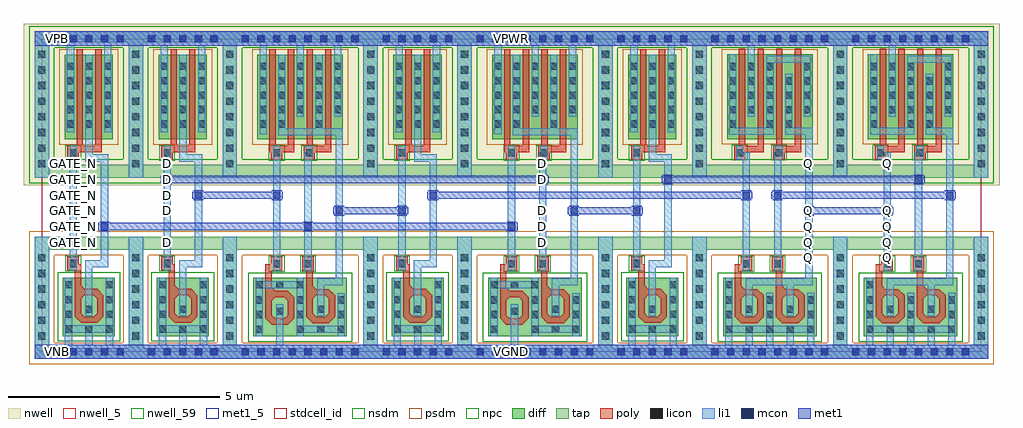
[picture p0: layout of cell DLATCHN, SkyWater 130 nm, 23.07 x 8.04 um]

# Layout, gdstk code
from math import pi, radians
import gdstk
lib = gdstk.Library(unit=1e-6, precision=1e-09)
def R(c, l, rs):  # rectangles x0, y0, x1, y1
    for r in rs: c.add(gdstk.rectangle(r[:2], r[2:], *l))
def A(c, l, x, y, w, h, nx, ny, dx, dy):  # array of equal rectangles
    R(c, l, [(x+i*dx, y+j*dy, x+i*dx+w, y+j*dy+h) for i in range(nx) for j in range(ny)])
def P(c, l, *ps):  # polygons
    for p in ps: c.add(gdstk.Polygon(p, *l))
nwell_5 = (64, 5)
nwell = (64, 20)
nwell_59 = (64, 59)
diff = (65, 20)
tap = (65, 44)
poly = (66, 20)
licon = (66, 44)
li1 = (67, 20)
mcon = (67, 44)
met1_5 = (68, 5)
met1 = (68, 20)
stdcell_id = (81, 4)
nsdm = (93, 44)
psdm = (94, 20)
npc = (95, 20)

diff_ring_side = lib.new_cell('diff_ring_side')
R(diff_ring_side, nwell, [(-0.435,3.93,0.435,7.75)])
R(diff_ring_side, tap, [(-0.17,-0.17,0.17,2.72), (-0.17,4.11,0.17,7.57)])
A(diff_ring_side, licon, -0.085, 0.285, 0.17, 0.17, 1, 6, 0, 0.37)
A(diff_ring_side, licon, -0.085, 4.355, 0.17, 0.17, 1, 8, 0, 0.37)
R(diff_ring_side, li1, [(-0.17,-0.17,0.17,2.72), (-0.17,4.11,0.17,7.57)])
R(diff_ring_side, met1, [(-0.17,-0.17,0.17,0.17), (-0.17,7.23,0.17,7.57)])
R(diff_ring_side, nsdm, [(-0.295,3.985,0.295,7.695)])
R(diff_ring_side, psdm, [(-0.295,-0.295,0.295,2.845)])

nmos_bottom = lib.new_cell('nmos_bottom')
R(nmos_bottom, diff, [(0,0,1.24,1.38)])
R(nmos_bottom, poly, [(0.43,0.27,0.81,0.42), (0.28,0.42,0.43,0.925), (0.81,0.42,0.96,0.925), (0.43,0.925,0.96,1.075), (0.81,1.075,0.96,1.51)])
P(nmos_bottom, poly, [(0.73,1.075),(0.81,1.075),(0.81,1.155)],
  [(0.28,0.925),(0.43,0.925),(0.43,1.075)],
  [(0.43,0.845),(0.43,0.925),(0.51,0.925)],
  [(0.73,0.925),(0.81,0.925),(0.81,0.845)],
  [(0.43,0.5),(0.43,0.42),(0.51,0.42)],
  [(0.73,0.42),(0.81,0.42),(0.81,0.5)],
  [(0.28,0.42),(0.43,0.42),(0.43,0.27)],
  [(0.81,0.27),(0.81,0.42),(0.96,0.42)])
A(nmos_bottom, licon, 0.05, 1.13, 0.17, 0.17, 3, 1, 0.485, 0)
R(nmos_bottom, licon, [(0.05,0.08,0.22,0.25), (1.02,0.08,1.19,0.25), (0.05,0.43,0.22,0.6), (1.02,0.43,1.19,0.6), (0.535,0.505,0.705,0.675), (0.05,0.77,0.22,0.94), (1.02,0.77,1.19,0.94)])
R(nmos_bottom, li1, [(0.05,0,0.22,1.13), (1.02,0,1.19,1.13), (0.535,0.425,0.705,0.755), (0.05,1.13,1.19,1.3), (0.05,1.3,0.22,1.38), (1.02,1.3,1.19,1.38)])
R(nmos_bottom, nsdm, [(-0.125,-0.125,1.365,1.505)])

pmos2 = lib.new_cell('pmos2')
R(pmos2, nwell, [(0.26,-2.18,1.76,0.18)])
R(pmos2, diff, [(0.44,-2,1.58,0)])
R(pmos2, poly, [(0.72,-2.305,1.31,-2.155), (0.72,-2.155,0.87,0.13), (1.16,-2.155,1.31,0.13)])
A(pmos2, licon, 0.49, -1.38, 0.17, 0.17, 3, 4, 0.44, 0.34)
R(pmos2, li1, [(0.49,-1.465,0.66,0.21), (0.93,-1.465,1.1,0), (1.37,-1.465,1.54,0.21)])
R(pmos2, psdm, [(0.315,-2.125,1.705,0.125)])

poly_li1_contact = lib.new_cell('poly_li1_contact')
R(poly_li1_contact, poly, [(-0.16,-0.14,0.17,0.13)])
R(poly_li1_contact, licon, [(-0.08,-0.09,0.09,0.08)])
R(poly_li1_contact, li1, [(-0.16,-0.09,0.17,0.08)])
R(poly_li1_contact, npc, [(-0.18,-0.19,0.19,0.18)])

nmos_top_trim1 = lib.new_cell('nmos_top_trim1')
R(nmos_top_trim1, diff, [(0,0,1.24,1.38)])
R(nmos_top_trim1, poly, [(0.43,0.31,0.81,0.46), (0.28,0.46,0.43,0.965), (0.81,0.46,0.96,0.965), (0.43,0.965,0.96,1.115), (0.81,1.115,0.96,1.545)])
P(nmos_top_trim1, poly, [(0.73,1.115),(0.81,1.115),(0.81,1.195)],
  [(0.28,0.965),(0.43,0.965),(0.43,1.115)],
  [(0.43,0.885),(0.43,0.965),(0.51,0.965)],
  [(0.73,0.965),(0.81,0.965),(0.81,0.885)],
  [(0.43,0.54),(0.43,0.46),(0.51,0.46)],
  [(0.73,0.46),(0.81,0.46),(0.81,0.54)],
  [(0.28,0.46),(0.43,0.46),(0.43,0.31)],
  [(0.81,0.31),(0.81,0.46),(0.96,0.46)])
A(nmos_top_trim1, licon, 0.05, 0.08, 0.17, 0.17, 3, 1, 0.485, 0)
R(nmos_top_trim1, licon, [(0.05,0.43,0.22,0.6), (1.02,0.43,1.19,0.6), (0.535,0.55,0.705,0.72), (0.05,0.77,0.22,0.94), (1.02,0.77,1.19,0.94), (1.02,1.13,1.19,1.3)])
R(nmos_top_trim1, li1, [(0.05,0,0.22,0.08), (1.02,0,1.19,0.08), (0.05,0.08,1.19,0.25), (0.05,0.25,0.22,1.02), (1.02,0.25,1.19,1.38), (0.535,0.47,0.705,0.805)])
R(nmos_top_trim1, nsdm, [(-0.125,-0.125,1.365,1.505)])

nand2x1_pcell = lib.new_cell('nand2x1_pcell')
R(nand2x1_pcell, nwell, [(0.435,3.93,2.895,7.75)])
R(nand2x1_pcell, diff, [(0.705,5.295,0.875,5.465), (1.145,5.295,1.315,5.465), (2.025,5.295,2.195,5.465)])
R(nand2x1_pcell, tap, [(0.17,-0.17,3.16,-0.15), (0.155,-0.15,3.175,0.085), (0.155,2.4,0.17,2.41), (3.16,2.4,3.175,2.41), (0.155,2.41,3.175,2.71), (0.17,2.71,3.16,2.72), (0.17,4.11,3.16,4.42), (0.17,7.315,3.16,7.57)])
R(nand2x1_pcell, poly, [(0.84,1.875,0.99,2.065), (1.81,1.91,1.96,1.915)])
A(nand2x1_pcell, licon, 0.285, -0.085, 0.17, 0.17, 8, 2, 0.37, 7.4)
R(nand2x1_pcell, licon, [(0.705,5.295,0.875,5.465), (1.145,5.295,1.315,5.465), (2.025,5.295,2.195,5.465)])
R(nand2x1_pcell, li1, [(0.17,-0.17,3.16,-0.15), (0.155,-0.15,3.175,0.16), (0.17,0.16,3.16,0.17), (1.095,0.17,1.265,0.835), (2.065,1.165,2.235,1.57), (2.065,1.57,2.675,1.74), (2.505,1.74,2.675,5.115), (1.025,2.165,1.195,4.54), (1.765,2.165,1.785,2.205), (1.765,2.205,1.935,4.54), (1.765,4.54,1.805,4.71), (1.145,5.115,2.675,5.285), (0.705,5.135,0.875,5.555), (1.145,5.285,1.315,5.555), (2.025,5.285,2.195,5.555), (0.17,7.23,3.16,7.57)])
A(nand2x1_pcell, mcon, 0.285, -0.085, 0.17, 0.17, 8, 2, 0.37, 7.4)
R(nand2x1_pcell, met1, [(0.17,-0.17,3.16,-0.15), (0.155,-0.15,3.175,0.16), (0.17,0.16,3.16,0.17), (0.17,7.23,3.16,7.57)])
R(nand2x1_pcell, nsdm, [(0.045,3.985,3.285,4.545), (0.045,7.19,3.285,7.695)])
R(nand2x1_pcell, psdm, [(0.045,-0.295,3.285,-0.275), (0.03,-0.275,3.3,0.21), (0.03,2.275,0.295,2.285), (3.035,2.275,3.3,2.285), (0.03,2.285,3.3,2.835), (0.045,2.835,3.285,2.845), (0.58,5.17,1.44,5.59), (1.9,5.17,2.32,5.59)])
nand2x1_pcell.add(gdstk.Reference(diff_ring_side, (0,0)))
nand2x1_pcell.add(gdstk.Reference(nmos_bottom, (1.8,0.365), rotation=pi, x_reflection=True))
nand2x1_pcell.add(gdstk.Reference(pmos2, (0.215,7.02)))
nand2x1_pcell.add(gdstk.Reference(poly_li1_contact, (1.115,4.705), rotation=3*pi/2))
nand2x1_pcell.add(gdstk.Reference(poly_li1_contact, (1.115,2.085), rotation=3*pi/2))
nand2x1_pcell.add(gdstk.Reference(nmos_top_trim1, (2.77,0.365), rotation=pi, x_reflection=True))
nand2x1_pcell.add(gdstk.Reference(pmos2, (1.095,7.02)))
nand2x1_pcell.add(gdstk.Reference(poly_li1_contact, (1.845,2.075), rotation=pi/2))
nand2x1_pcell.add(gdstk.Reference(poly_li1_contact, (1.885,4.705), rotation=3*pi/2))
nand2x1_pcell.add(gdstk.Reference(diff_ring_side, (3.33,0)))

li1_m1_contact = lib.new_cell('li1_M1_contact')
R(li1_m1_contact, li1, [(-0.085,-0.165,0.085,0.165)])
R(li1_m1_contact, mcon, [(-0.085,-0.085,0.085,0.085)])
R(li1_m1_contact, met1, [(-0.115,-0.115,0.115,-0.085), (-0.265,-0.085,0.145,0.085), (-0.115,0.085,0.115,0.115)])

nmos_top = lib.new_cell('nmos_top')
R(nmos_top, diff, [(0,0,1.23,1.38)])
R(nmos_top, poly, [(0.42,0.31,0.8,0.46), (0.27,0.46,0.42,0.965), (0.8,0.46,0.95,0.965), (0.42,0.965,0.95,1.115), (0.8,1.115,0.95,1.54)])
P(nmos_top, poly, [(0.72,1.115),(0.8,1.115),(0.8,1.195)],
  [(0.27,0.965),(0.42,0.965),(0.42,1.115)],
  [(0.42,0.885),(0.42,0.965),(0.5,0.965)],
  [(0.72,0.965),(0.8,0.965),(0.8,0.885)],
  [(0.42,0.54),(0.42,0.46),(0.5,0.46)],
  [(0.72,0.46),(0.8,0.46),(0.8,0.54)],
  [(0.27,0.46),(0.42,0.46),(0.42,0.31)],
  [(0.8,0.31),(0.8,0.46),(0.95,0.46)])
R(nmos_top, licon, [(0.04,0.08,0.21,0.25), (0.53,0.08,0.7,0.25), (1.01,0.08,1.18,0.25), (0.04,0.43,0.21,0.6), (1.01,0.43,1.18,0.6), (0.53,0.55,0.7,0.72), (0.04,0.77,0.21,0.94), (1.01,0.77,1.18,0.94), (0.04,1.13,0.21,1.3), (1.01,1.13,1.18,1.3)])
R(nmos_top, li1, [(0.04,0,0.21,0.08), (1.01,0,1.18,0.08), (0.04,0.08,1.18,0.25), (0.04,0.25,0.21,1.38), (1.01,0.25,1.18,1.38), (0.53,0.47,0.7,0.805)])
R(nmos_top, nsdm, [(-0.125,-0.125,1.355,1.505)])

invx1_pcell = lib.new_cell('invx1_pcell')
R(invx1_pcell, nwell, [(-0.435,3.93,2.655,7.75)])
A(invx1_pcell, diff, 0.59, 5.295, 0.17, 0.17, 3, 1, 0.44, 0)
R(invx1_pcell, tap, [(0.17,-0.17,2.05,0.085), (0.17,2.41,2.05,2.72), (0.17,4.11,2.05,4.42), (0.17,7.315,2.05,7.57)])
R(invx1_pcell, poly, [(0.775,1.905,0.925,2.065)])
A(invx1_pcell, licon, 0.285, -0.085, 0.17, 0.17, 5, 2, 0.37, 7.4)
A(invx1_pcell, licon, 0.59, 5.295, 0.17, 0.17, 3, 1, 0.44, 0)
R(invx1_pcell, li1, [(0.17,-0.17,2.05,0.17), (0.545,0.17,0.715,0.45), (1.03,0.17,1.2,0.455), (1.515,0.17,1.685,0.45), (1.025,1.165,1.195,1.995), (1.025,1.995,1.565,2.165), (1.395,2.165,1.565,4.495), (0.655,2.245,0.825,4.54), (1.03,4.495,1.565,4.665), (1.03,4.665,1.2,5.555), (0.59,5.185,0.76,5.555), (1.47,5.185,1.64,5.555), (0.17,7.23,2.05,7.57)])
A(invx1_pcell, mcon, 0.285, -0.085, 0.17, 0.17, 5, 2, 0.37, 7.4)
R(invx1_pcell, met1, [(0.17,-0.17,2.05,0.17), (0.17,7.23,2.05,7.57)])
R(invx1_pcell, nsdm, [(0.045,3.985,2.175,4.545), (0.045,7.19,2.175,7.695)])
R(invx1_pcell, psdm, [(0.045,-0.295,2.175,0.21), (0.045,2.285,2.175,2.845), (0.465,5.17,1.765,5.59)])
invx1_pcell.add(gdstk.Reference(poly_li1_contact, (0.735,2.08), rotation=pi/2))
invx1_pcell.add(gdstk.Reference(poly_li1_contact, (0.745,4.705), rotation=3*pi/2))
invx1_pcell.add(gdstk.Reference(pmos2, (0.1,7.02)))
invx1_pcell.add(gdstk.Reference(nmos_top, (1.725,0.37), rotation=pi, x_reflection=True))
invx1_pcell.add(gdstk.Reference(diff_ring_side, (0,0)))
invx1_pcell.add(gdstk.Reference(diff_ring_side, (2.22,0)))

and2x1_pcell = lib.new_cell('and2x1_pcell')
R(and2x1_pcell, met1, [(2.735,3.245,3.805,3.415)])
and2x1_pcell.add(gdstk.Reference(nand2x1_pcell, (0,0)))
and2x1_pcell.add(gdstk.Reference(li1_m1_contact, (4.07,3.33)))
and2x1_pcell.add(gdstk.Reference(li1_m1_contact, (2.59,3.33), rotation=pi))
and2x1_pcell.add(gdstk.Reference(invx1_pcell, (3.33,0)))

pmos2_1 = lib.new_cell('pmos2_1')
R(pmos2_1, nwell, [(0.26,-2.175,1.76,0.185)])
R(pmos2_1, diff, [(0.44,-1.995,1.58,0.005)])
R(pmos2_1, poly, [(0.72,-2.3,1.31,-2.15), (0.72,-2.15,0.87,0.135), (1.16,-2.15,1.31,0.135)])
A(pmos2_1, licon, 0.49, -1.385, 0.17, 0.17, 3, 3, 0.44, 0.34)
A(pmos2_1, li1, 0.49, -1.465, 0.17, 1.01, 3, 1, 0.44, 0)
R(pmos2_1, psdm, [(0.315,-2.12,1.705,0.13)])

nmos_top_trim2 = lib.new_cell('nmos_top_trim2')
R(nmos_top_trim2, diff, [(0,0,1.24,1.38)])
R(nmos_top_trim2, poly, [(0.43,0.31,0.81,0.46), (0.28,0.46,0.43,0.89), (0.81,0.46,0.96,0.89), (0.28,0.89,0.435,0.965), (0.805,0.89,0.96,0.965), (0.43,0.965,0.96,1.115), (0.81,1.115,0.96,1.545)])
P(nmos_top_trim2, poly, [(0.73,1.115),(0.81,1.115),(0.81,1.195)],
  [(0.28,0.965),(0.43,0.965),(0.43,1.115)],
  [(0.435,0.89),(0.435,0.965),(0.51,0.965)],
  [(0.73,0.965),(0.805,0.965),(0.805,0.89)],
  [(0.43,0.54),(0.43,0.46),(0.51,0.46)],
  [(0.73,0.46),(0.81,0.46),(0.81,0.54)],
  [(0.28,0.46),(0.43,0.46),(0.43,0.31)],
  [(0.81,0.31),(0.81,0.46),(0.96,0.46)])
A(nmos_top_trim2, licon, 0.05, 0.08, 0.17, 0.17, 3, 1, 0.485, 0)
R(nmos_top_trim2, licon, [(0.05,0.43,0.22,0.6), (1.02,0.43,1.19,0.6), (0.535,0.55,0.705,0.72), (0.05,0.77,0.22,0.94), (1.02,0.77,1.19,0.94)])
R(nmos_top_trim2, li1, [(0.05,0,0.22,0.08), (1.02,0,1.19,0.08), (0.05,0.08,1.19,0.25), (0.05,0.25,0.22,1.025), (1.02,0.25,1.19,1.025), (0.535,0.47,0.705,0.805)])
R(nmos_top_trim2, nsdm, [(-0.125,-0.125,1.365,1.505)])

nor2x1_pcell = lib.new_cell('nor2x1_pcell')
R(nor2x1_pcell, nwell, [(0.435,3.93,2.895,7.75)])
A(nor2x1_pcell, diff, 0.705, 6.655, 0.17, 0.17, 3, 1, 0.44, 0)
R(nor2x1_pcell, diff, [(0.705,5.295,0.875,5.465), (1.585,5.295,1.755,5.465), (2.025,5.295,2.195,5.465), (2.465,6.655,2.635,6.825)])
R(nor2x1_pcell, tap, [(0.17,-0.17,3.16,0.085), (0.17,2.41,3.16,2.72), (0.17,4.11,3.16,4.42), (0.17,7.315,3.16,7.57)])
R(nor2x1_pcell, poly, [(0.84,1.875,0.99,2.065), (1.81,1.91,1.96,1.915)])
A(nor2x1_pcell, licon, 0.285, -0.085, 0.17, 0.17, 8, 2, 0.37, 7.4)
A(nor2x1_pcell, licon, 0.705, 6.655, 0.17, 0.17, 3, 1, 0.44, 0)
R(nor2x1_pcell, licon, [(0.705,5.295,0.875,5.465), (1.585,5.295,1.755,5.465), (2.025,5.295,2.195,5.465), (2.465,6.655,2.635,6.825)])
A(nor2x1_pcell, li1, 0.61, 0.17, 0.17, 0.195, 3, 1, 0.97, 0)
R(nor2x1_pcell, li1, [(0.17,-0.17,3.16,0.17), (1.095,0.17,1.265,0.445), (2.065,0.17,2.235,0.445), (1.095,1.165,1.265,1.57), (2.065,1.165,2.235,1.57), (1.095,1.57,2.675,1.74), (2.505,1.74,2.675,5.125), (1.025,2.165,1.195,4.71), (1.765,2.165,1.785,2.205), (1.765,2.205,1.935,4.54), (1.765,4.54,1.805,4.71), (0.705,5.125,1.755,5.295), (2.025,5.125,2.675,5.295), (0.705,5.295,0.875,5.555), (1.585,5.295,1.755,5.555), (2.025,5.295,2.195,5.555), (0.705,6.565,0.875,7.025), (1.145,6.565,1.315,7.23), (1.585,6.565,1.755,6.825), (2.465,6.565,2.635,6.825), (1.585,6.825,2.635,6.995), (0.17,7.23,3.16,7.57)])
A(nor2x1_pcell, mcon, 0.285, -0.085, 0.17, 0.17, 8, 2, 0.37, 7.4)
R(nor2x1_pcell, met1, [(0.17,-0.17,3.16,0.17), (0.17,7.23,3.16,7.57)])
R(nor2x1_pcell, nsdm, [(0.045,3.985,3.285,4.545), (0.045,7.19,3.285,7.695)])
R(nor2x1_pcell, psdm, [(0.045,-0.295,3.285,0.21), (0.045,2.285,3.285,2.845), (0.58,5.17,1,5.59), (1.46,5.17,2.32,5.59), (0.58,6.53,1.88,6.95), (2.34,6.53,2.76,6.95)])
nor2x1_pcell.add(gdstk.Reference(diff_ring_side, (0,0)))
nor2x1_pcell.add(gdstk.Reference(nmos_top_trim1, (1.8,0.365), rotation=pi, x_reflection=True))
nor2x1_pcell.add(gdstk.Reference(pmos2_1, (0.215,7.02)))
nor2x1_pcell.add(gdstk.Reference(poly_li1_contact, (0.96,4.71), rotation=3*pi/2))
nor2x1_pcell.add(gdstk.Reference(poly_li1_contact, (1.115,2.085), rotation=3*pi/2))
nor2x1_pcell.add(gdstk.Reference(nmos_top_trim2, (2.77,0.365), rotation=pi, x_reflection=True))
nor2x1_pcell.add(gdstk.Reference(pmos2_1, (1.095,7.02)))
nor2x1_pcell.add(gdstk.Reference(poly_li1_contact, (1.845,2.075), rotation=pi/2))
nor2x1_pcell.add(gdstk.Reference(poly_li1_contact, (1.89,4.71), rotation=3*pi/2))
nor2x1_pcell.add(gdstk.Reference(diff_ring_side, (3.33,0)))

dlatchn = lib.new_cell('DLATCHN')
R(dlatchn, nwell_5, [(0.285,7.315,0.455,7.485)])
R(dlatchn, nwell, [(0.285,7.315,0.455,7.485)])
R(dlatchn, nwell_59, [(0.285,-0.085,0.455,0.085)])
A(dlatchn, li1, 18.045, 2.135, 0.17, 0.17, 1, 4, 0, 0.37)
A(dlatchn, li1, 19.895, 2.135, 0.17, 0.17, 1, 4, 0, 0.37)
A(dlatchn, li1, 0.655, 2.505, 0.17, 0.17, 1, 6, 0, 0.37)
A(dlatchn, li1, 11.755, 2.505, 0.17, 0.17, 1, 3, 0, 0.37)
A(dlatchn, li1, 2.875, 3.245, 0.17, 0.17, 1, 4, 0, 0.37)
R(dlatchn, li1, [(2.875,2.505,3.045,2.675), (11.755,3.985,11.925,4.155), (11.755,4.355,11.925,4.525), (18.045,4.355,18.215,4.525), (19.895,4.355,20.065,4.525)])
A(dlatchn, met1_5, 18.045, 2.135, 0.17, 0.17, 1, 4, 0, 0.37)
A(dlatchn, met1_5, 19.895, 2.135, 0.17, 0.17, 1, 4, 0, 0.37)
A(dlatchn, met1_5, 0.655, 2.505, 0.17, 0.17, 1, 6, 0, 0.37)
A(dlatchn, met1_5, 11.755, 2.505, 0.17, 0.17, 1, 3, 0, 0.37)
A(dlatchn, met1_5, 2.875, 3.245, 0.17, 0.17, 1, 4, 0, 0.37)
R(dlatchn, met1_5, [(-0.17,-0.17,22.37,0.17), (2.875,2.505,3.045,2.675), (11.755,3.985,11.925,4.155), (11.755,4.355,11.925,4.525), (18.045,4.355,18.215,4.525), (19.895,4.355,20.065,4.525), (-0.17,7.23,22.37,7.57)])
R(dlatchn, met1, [(-0.17,-0.17,22.37,0.17), (1.745,2.875,10.835,3.045), (18.395,3.245,19.715,3.415), (3.965,3.615,5.285,3.785), (9.515,3.615,16.385,3.785), (17.655,3.615,21.195,3.785), (3.225,3.985,11.575,4.155), (15.065,3.985,20.455,4.155), (-0.17,7.23,22.37,7.57)])
R(dlatchn, stdcell_id, [(0,0,22.2,7.4)])
dlatchn.add(gdstk.Reference(and2x1_pcell, (4.44,0)))
dlatchn.add(gdstk.Reference(li1_m1_contact, (1.48,2.96), rotation=pi))
dlatchn.add(gdstk.Reference(li1_m1_contact, (2.96,4.07), rotation=pi))
dlatchn.add(gdstk.Reference(li1_m1_contact, (3.7,3.7), rotation=pi))
dlatchn.add(gdstk.Reference(li1_m1_contact, (5.55,3.7)))
dlatchn.add(gdstk.Reference(invx1_pcell, (0,0)))
dlatchn.add(gdstk.Reference(invx1_pcell, (2.22,0)))
dlatchn.add(gdstk.Reference(and2x1_pcell, (9.99,0)))
dlatchn.add(gdstk.Reference(li1_m1_contact, (9.25,3.7), rotation=pi))
dlatchn.add(gdstk.Reference(li1_m1_contact, (6.29,2.96), rotation=pi))
dlatchn.add(gdstk.Reference(li1_m1_contact, (11.1,2.96)))
dlatchn.add(gdstk.Reference(li1_m1_contact, (11.84,4.07)))
dlatchn.add(gdstk.Reference(li1_m1_contact, (14.8,4.07), rotation=pi))
dlatchn.add(gdstk.Reference(li1_m1_contact, (16.65,3.7)))
dlatchn.add(gdstk.Reference(li1_m1_contact, (17.39,3.7), rotation=pi))
dlatchn.add(gdstk.Reference(li1_m1_contact, (18.13,3.33), rotation=pi))
dlatchn.add(gdstk.Reference(nor2x1_pcell, (15.54,0)))
dlatchn.add(gdstk.Reference(nor2x1_pcell, (18.87,0)))
dlatchn.add(gdstk.Reference(li1_m1_contact, (19.98,3.33)))
dlatchn.add(gdstk.Reference(li1_m1_contact, (21.46,3.7)))
dlatchn.add(gdstk.Reference(li1_m1_contact, (20.72,4.07)))
dlatchn.add(gdstk.Label('Q', (18.13,3.33), layer=68, texttype=5))
dlatchn.add(gdstk.Label('Q', (18.13,2.96), layer=68, texttype=5))
dlatchn.add(gdstk.Label('Q', (18.13,2.59), layer=68, texttype=5))
dlatchn.add(gdstk.Label('Q', (18.13,2.22), layer=68, texttype=5))
dlatchn.add(gdstk.Label('Q', (18.13,4.44), layer=68, texttype=5))
dlatchn.add(gdstk.Label('Q', (19.98,2.22), layer=68, texttype=5))
dlatchn.add(gdstk.Label('Q', (19.98,2.59), layer=68, texttype=5))
dlatchn.add(gdstk.Label('Q', (19.98,2.96), layer=68, texttype=5))
dlatchn.add(gdstk.Label('Q', (19.98,3.33), layer=68, texttype=5))
dlatchn.add(gdstk.Label('Q', (19.98,4.44), layer=68, texttype=5))
dlatchn.add(gdstk.Label('D', (2.96,4.07), layer=68, texttype=5))
dlatchn.add(gdstk.Label('D', (2.96,4.44), layer=68, texttype=5))
dlatchn.add(gdstk.Label('D', (2.96,3.7), layer=68, texttype=5))
dlatchn.add(gdstk.Label('D', (2.96,3.33), layer=68, texttype=5))
dlatchn.add(gdstk.Label('D', (2.96,2.59), layer=68, texttype=5))
dlatchn.add(gdstk.Label('D', (11.84,3.33), layer=68, texttype=5))
dlatchn.add(gdstk.Label('D', (11.84,4.07), layer=68, texttype=5))
dlatchn.add(gdstk.Label('D', (11.84,4.44), layer=68, texttype=5))
dlatchn.add(gdstk.Label('D', (11.84,2.96), layer=68, texttype=5))
dlatchn.add(gdstk.Label('D', (11.84,2.59), layer=68, texttype=5))
dlatchn.add(gdstk.Label('GATE_N', (0.74,2.96), layer=68, texttype=5))
dlatchn.add(gdstk.Label('GATE_N', (0.74,2.59), layer=68, texttype=5))
dlatchn.add(gdstk.Label('GATE_N', (0.74,3.33), layer=68, texttype=5))
dlatchn.add(gdstk.Label('GATE_N', (0.74,3.7), layer=68, texttype=5))
dlatchn.add(gdstk.Label('GATE_N', (0.74,4.07), layer=68, texttype=5))
dlatchn.add(gdstk.Label('GATE_N', (0.74,4.44), layer=68, texttype=5))
dlatchn.add(gdstk.Label('VPWR', (11.1,7.4), layer=68, texttype=5))
dlatchn.add(gdstk.Label('VGND', (11.1,0), layer=68, texttype=5))
dlatchn.add(gdstk.Label('VPB', (0.37,7.4), layer=64, texttype=5))
dlatchn.add(gdstk.Label('VNB', (0.37,0), layer=64, texttype=59))

lib.write_gds('DLATCHN.gds')
